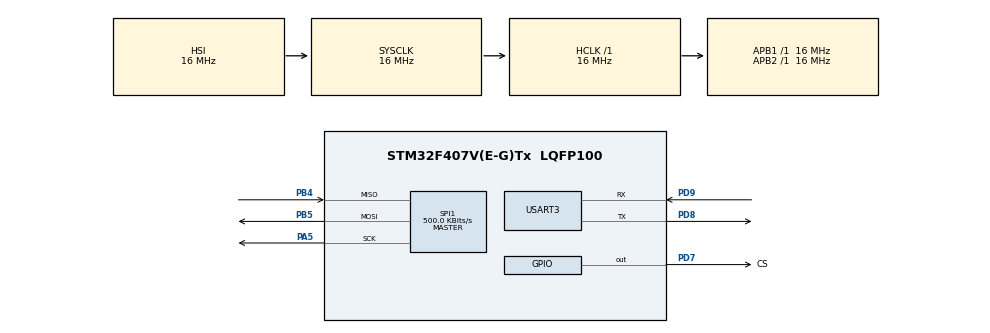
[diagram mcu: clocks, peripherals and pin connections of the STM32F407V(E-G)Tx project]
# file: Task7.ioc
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Mcu.Family=STM32F4
Mcu.Name=STM32F407V(E-G)Tx
Mcu.Package=LQFP100
NVIC.PriorityGroup=NVIC_PRIORITYGROUP_4
PA5.Mode=Full_Duplex_Master
PA5.Signal=SPI1_SCK
PB4.Mode=Full_Duplex_Master
PB4.Signal=SPI1_MISO
PB5.Mode=Full_Duplex_Master
PB5.Signal=SPI1_MOSI
PD7.GPIO_Label=CS
PD7.Signal=GPIO_Output
PD8.Mode=Asynchronous
PD8.Signal=USART3_TX
PD9.Mode=Asynchronous
PD9.Signal=USART3_RX
ProjectManager.HeapSize=0x200
ProjectManager.StackSize=0x400
ProjectManager.TargetToolchain=STM32CubeIDE
RCC.AHBFreq_Value=16000000
RCC.APB1Freq_Value=16000000
RCC.APB2Freq_Value=16000000
RCC.CortexFreq_Value=16000000
RCC.HSE_VALUE=25000000
RCC.HSI_VALUE=16000000
RCC.LSE_VALUE=32768
RCC.SYSCLKFreq_VALUE=16000000
RCC.VCOOutputFreq_Value=192000000
SPI1.BaudRatePrescaler=SPI_BAUDRATEPRESCALER_32
SPI1.CalculateBaudRate=500.0 KBits/s
SPI1.Direction=SPI_DIRECTION_2LINES
SPI1.Mode=SPI_MODE_MASTER
SPI1.VirtualType=VM_MASTER
USART3.VirtualMode=VM_ASYNC
board=custom

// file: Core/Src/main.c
/* USER CODE BEGIN Header */
/**
  ******************************************************************************
  * @file           : main.c
  * @brief          : Main program body
  ******************************************************************************
  * @attention
  *
  * <h2><center>&copy; Copyright (c) 2021 STMicroelectronics.
  * All rights reserved.</center></h2>
  *
  * This software component is licensed by ST under BSD 3-Clause license,
  * the "License"; You may not use this file except in compliance with the
  * License. You may obtain a copy of the License at:
  *                        opensource.org/licenses/BSD-3-Clause
  *
  ******************************************************************************
  */
/* USER CODE END Header */
#include "main.h"

/* USER CODE BEGIN Includes */
#include "SST25VF016B.h"
/* USER CODE END Includes */

SPI_HandleTypeDef hspi1;

UART_HandleTypeDef huart3;

/* USER CODE BEGIN PV */
#define PAGE_SIZE 4096
#define MAX_LINE_LEN 64
#define TEXT_LINES 9

const char *message[TEXT_LINES] = {
		"From: Danylo Havryliv, evg829@gmail.com\n",
		"Mentor: Anna Bezverkhnia, anna.bezverkhnia@globallogic.com\n",
		"Date: 2021.11.30\n",
		"TIME CAPSULE\n",
		"We still have quarantine:(",
		"Cool songs:",
		"Metallica - The Unforgiven",
		"Pain - Shut Your Mouth",
		"System Of A Down - Lonely day"
};
/* USER CODE END PV */

void SystemClock_Config(void);
static void MX_GPIO_Init(void);
static void MX_SPI1_Init(void);
static void MX_USART3_UART_Init(void);

/* USER CODE BEGIN 0 */
void Read_Flash() {
	char line[MAX_LINE_LEN];
	for (int page = 0; page < TEXT_LINES; page++) {
		Flash_Read(page*PAGE_SIZE, (uint8_t*)line, MAX_LINE_LEN);
		for (int j = 0; j<MAX_LINE_LEN; j++)
			  if (line[j] == 0xFF || line[j] == '\n') {
				  line[j] = '\r';
				  line[j+1] = '\n';
				  line[j+2] = '\0';
				  break;
			  }
		HAL_UART_Transmit(&huart3, (uint8_t *) line, strlen(line), 1000);
	}
}
void Write_Flash() {
	for (int i = 0; i < TEXT_LINES; i++)
		Flash_Write(i*PAGE_SIZE, (uint8_t*)message[i], strlen(message[i]));
}
/* USER CODE END 0 */

int main(void)
{

  /* MCU Configuration--------------------------------------------------------*/

  /* Reset of all peripherals, Initializes the Flash interface and the Systick. */
  HAL_Init();

  /* Configure the system clock */
  SystemClock_Config();

  /* Initialize all configured peripherals */
  MX_GPIO_Init();
  MX_SPI1_Init();
  MX_USART3_UART_Init();
  /* USER CODE BEGIN 2 */
  Flash_Init(CS_Pin, &hspi1);
  HAL_Delay (100);
  Flash_EraseAll();
  HAL_Delay (100);
  Write_Flash();
  HAL_Delay (100);
  Read_Flash();
  /* USER CODE END 2 */

  /* Infinite loop */
  while (1)
  {

  }
}

void SystemClock_Config(void)
{
  RCC_OscInitTypeDef RCC_OscInitStruct = {0};
  RCC_ClkInitTypeDef RCC_ClkInitStruct = {0};

  /** Configure the main internal regulator output voltage
  */
  __HAL_RCC_PWR_CLK_ENABLE();
  __HAL_PWR_VOLTAGESCALING_CONFIG(PWR_REGULATOR_VOLTAGE_SCALE1);
  /** Initializes the RCC Oscillators according to the specified parameters
  * in the RCC_OscInitTypeDef structure.
  */
  RCC_OscInitStruct.OscillatorType = RCC_OSCILLATORTYPE_HSI;
  RCC_OscInitStruct.HSIState = RCC_HSI_ON;
  RCC_OscInitStruct.HSICalibrationValue = RCC_HSICALIBRATION_DEFAULT;
  RCC_OscInitStruct.PLL.PLLState = RCC_PLL_NONE;
  if (HAL_RCC_OscConfig(&RCC_OscInitStruct) != HAL_OK)
  {
    Error_Handler();
  }
  /** Initializes the CPU, AHB and APB buses clocks
  */
  RCC_ClkInitStruct.ClockType = RCC_CLOCKTYPE_HCLK|RCC_CLOCKTYPE_SYSCLK
                              |RCC_CLOCKTYPE_PCLK1|RCC_CLOCKTYPE_PCLK2;
  RCC_ClkInitStruct.SYSCLKSource = RCC_SYSCLKSOURCE_HSI;
  RCC_ClkInitStruct.AHBCLKDivider = RCC_SYSCLK_DIV1;
  RCC_ClkInitStruct.APB1CLKDivider = RCC_HCLK_DIV1;
  RCC_ClkInitStruct.APB2CLKDivider = RCC_HCLK_DIV1;

  if (HAL_RCC_ClockConfig(&RCC_ClkInitStruct, FLASH_LATENCY_0) != HAL_OK)
  {
    Error_Handler();
  }
}

static void MX_SPI1_Init(void)
{

  /* SPI1 parameter configuration*/
  hspi1.Instance = SPI1;
  hspi1.Init.Mode = SPI_MODE_MASTER;
  hspi1.Init.Direction = SPI_DIRECTION_2LINES;
  hspi1.Init.DataSize = SPI_DATASIZE_8BIT;
  hspi1.Init.CLKPolarity = SPI_POLARITY_LOW;
  hspi1.Init.CLKPhase = SPI_PHASE_1EDGE;
  hspi1.Init.NSS = SPI_NSS_SOFT;
  hspi1.Init.BaudRatePrescaler = SPI_BAUDRATEPRESCALER_32;
  hspi1.Init.FirstBit = SPI_FIRSTBIT_MSB;
  hspi1.Init.TIMode = SPI_TIMODE_DISABLE;
  hspi1.Init.CRCCalculation = SPI_CRCCALCULATION_DISABLE;
  hspi1.Init.CRCPolynomial = 10;
  if (HAL_SPI_Init(&hspi1) != HAL_OK)
  {
    Error_Handler();
  }

}

static void MX_USART3_UART_Init(void)
{

  huart3.Instance = USART3;
  huart3.Init.BaudRate = 115200;
  huart3.Init.WordLength = UART_WORDLENGTH_8B;
  huart3.Init.StopBits = UART_STOPBITS_1;
  huart3.Init.Parity = UART_PARITY_NONE;
  huart3.Init.Mode = UART_MODE_TX_RX;
  huart3.Init.HwFlowCtl = UART_HWCONTROL_NONE;
  huart3.Init.OverSampling = UART_OVERSAMPLING_16;
  if (HAL_UART_Init(&huart3) != HAL_OK)
  {
    Error_Handler();
  }

}

static void MX_GPIO_Init(void)
{
  GPIO_InitTypeDef GPIO_InitStruct = {0};

  /* GPIO Ports Clock Enable */
  __HAL_RCC_GPIOA_CLK_ENABLE();
  __HAL_RCC_GPIOD_CLK_ENABLE();
  __HAL_RCC_GPIOB_CLK_ENABLE();

  /*Configure GPIO pin Output Level */
  HAL_GPIO_WritePin(CS_GPIO_Port, CS_Pin, GPIO_PIN_RESET);

  /*Configure GPIO pin : CS_Pin */
  GPIO_InitStruct.Pin = CS_Pin;
  GPIO_InitStruct.Mode = GPIO_MODE_OUTPUT_PP;
  GPIO_InitStruct.Pull = GPIO_NOPULL;
  GPIO_InitStruct.Speed = GPIO_SPEED_FREQ_LOW;
  HAL_GPIO_Init(CS_GPIO_Port, &GPIO_InitStruct);

}

void Error_Handler(void)
{
  __disable_irq();
  while (1)
  {
  }
}

/************************ (C) COPYRIGHT STMicroelectronics *****END OF FILE****/
